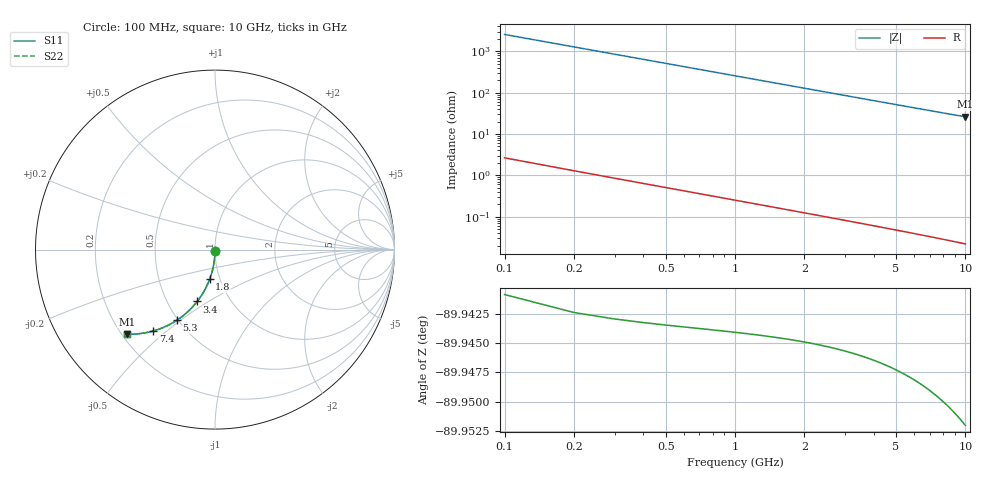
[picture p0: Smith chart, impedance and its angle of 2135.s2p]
# Hz S RI R 50.00
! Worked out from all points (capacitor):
!   100 points, 100 MHz to 10 GHz, reference 50 ohm
!   read as one part in shunt: C = 621 fF near 100 MHz
!   lowest |Z| = 26.1 ohm at 10 GHz (marker M1)
!   S11 on the Smith chart (normalised r, x): 100 MHz: 1.00, -0.02; 1.8 GHz: 0.89, -0.30; 3.4 GHz: 0.70, -0.45; 5.3 GHz: 0.49, -0.48; 7.4 GHz: 0.34, -0.45; 10 GHz: 0.22, -0.38
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1e8  5.83e-05 -0.00946  0.9997 -0.01  0.9997 -0.01  5.83e-05 -0.00946
2e8  -0.000235 -0.0189  0.9994 -0.0201  0.9994 -0.0201  -0.000235 -0.0189
3e8  -0.000718 -0.0284  0.999 -0.0301  0.999 -0.0301  -0.000718 -0.0284
4e8  -0.00139 -0.0378  0.9983 -0.0401  0.9983 -0.0401  -0.00139 -0.0378
5e8  -0.00225 -0.0472  0.9974 -0.0501  0.9974 -0.0501  -0.00225 -0.0472
6e8  -0.0033 -0.0566  0.9964 -0.06  0.9964 -0.06  -0.0033 -0.0566
8e8  -0.00595 -0.0752  0.9937 -0.0798  0.9937 -0.0798  -0.00595 -0.0752
9e8  -0.00755 -0.0845  0.9921 -0.0896  0.9921 -0.0896  -0.00755 -0.0845
1.1e9  -0.0113 -0.1029  0.9883 -0.1092  0.9883 -0.1092  -0.0113 -0.1029
1.4e9  -0.0182 -0.13  0.9814 -0.138  0.9814 -0.138  -0.0182 -0.13
1.8e9  -0.0299 -0.1651  0.9697 -0.1754  0.9697 -0.1754  -0.0299 -0.1651
2.1e9  -0.0402 -0.1905  0.9593 -0.2025  0.9593 -0.2025  -0.0402 -0.1905
2.5e9  -0.0561 -0.223  0.9434 -0.2373  0.9434 -0.2373  -0.0561 -0.223
2.9e9  -0.0741 -0.2536  0.9254 -0.2702  0.9254 -0.2702  -0.0741 -0.2536
3.4e9  -0.0992 -0.2891  0.9002 -0.3086  0.9002 -0.3086  -0.0992 -0.2891
4.2e9  -0.1441 -0.3389  0.8553 -0.363  0.8553 -0.363  -0.1441 -0.3389
5.1e9  -0.1991 -0.3844  0.8001 -0.4138  0.8001 -0.4138  -0.1991 -0.3844
5.3e9  -0.2117 -0.3931  0.7875 -0.4236  0.7875 -0.4236  -0.2117 -0.3931
6.7e9  -0.301 -0.4391  0.6979 -0.4777  0.6979 -0.4777  -0.301 -0.4391
7.4e9  -0.3448 -0.4536  0.6539 -0.4964  0.6539 -0.4964  -0.3448 -0.4536
8.4e9  -0.4048 -0.4662  0.5936 -0.5148  0.5936 -0.5148  -0.4048 -0.4662
1e10  -0.4921 -0.4704  0.5058 -0.5285  0.5058 -0.5285  -0.4921 -0.4704
